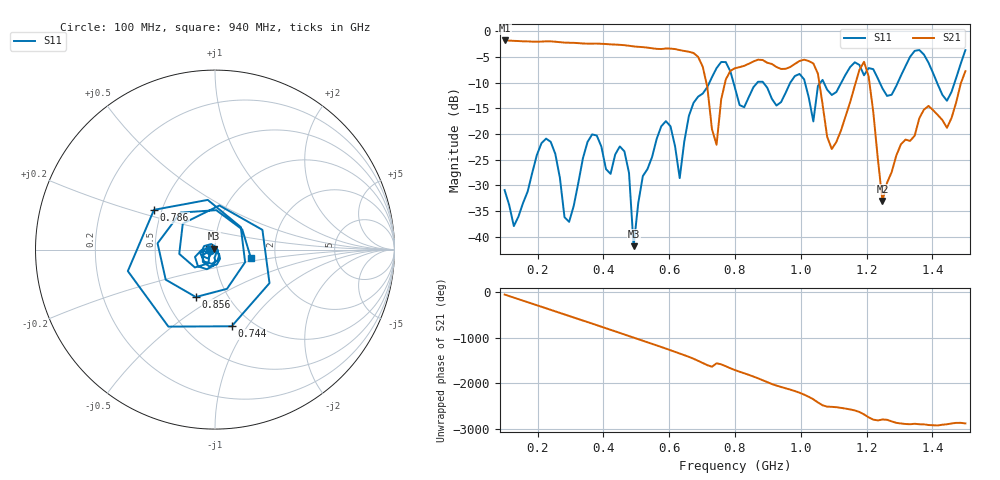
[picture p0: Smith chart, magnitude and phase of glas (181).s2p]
! NanoVNA-App
! Date: 2025-09-25 15:56:53
! Start: 100MHz Stop: 1,5GHz Points: 101
! S-Parameter data: F S11 S21 S12 S22
# Hz S RI R 50
!  Frequency  S11_Real  S11_Imag  S21_Real  S21_Imag  S12_Real  S12_Imag  S22_Real  S22_Imag
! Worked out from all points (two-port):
!   101 points, 100 MHz to 1.5 GHz, reference 50 ohm
!   highest |S21| = -1.80 dB at 100 MHz (marker M1); lowest = -33.0 dB at 1.248 GHz (marker M2)
!   |S21| within 3 dB of the highest: start of sweep to 684.3 MHz
!   lowest |S11| = -41.9 dB at 492 MHz (marker M3), VSWR 1.02, Z = 49.5 + j0.605 ohm
!   |S11| at or under -10 dB: start of sweep to 722.4 MHz; 795.4 MHz to 868 MHz (72.62 MHz wide, 8.73 % of centre); 885.9 MHz to 968.1 MHz (82.25 MHz wide, 8.87 % of centre) (the widest 3 of 7)
!   S12 and S22 are empty: the file has one direction only
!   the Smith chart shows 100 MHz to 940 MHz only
!   S11 on the Smith chart (normalised r, x): 100 MHz: 0.95, -0.01; 744 MHz: 0.80, -0.85; 786 MHz: 0.45, +0.24; 856 MHz: 0.71, -0.41; 940 MHz: 1.49, -0.14
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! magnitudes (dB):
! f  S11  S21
! 100 MHz  -30.9  -1.8
! 128 MHz  -38.0  -1.9
! 226 MHz  -20.9  -2.0
! 296 MHz  -37.1  -2.2
! 338 MHz  -24.7  -2.4
! 464 MHz  -23.4  -2.7
! 492 MHz  -41.9  -3.0
! 576 MHz  -18.5  -3.5
! 632 MHz  -28.6  -3.7
! 702 MHz  -12.1  -6.9
! 744 MHz  -7.2  -22.1
! 786 MHz  -7.8  -7.7
! 800 MHz  -11.1  -7.2
! 856 MHz  -10.9  -5.9
! 940 MHz  -13.8  -7.4
! 1.038 GHz  -17.6  -6.3
! 1.094 GHz  -12.4  -22.9
! 1.192 GHz  -8.6  -6.0
! 1.248 GHz  -11.1  -33.0
! 1.276 GHz  -12.4  -27.4
! 1.444 GHz  -13.5  -18.8
! 1.5 GHz  -3.7  -7.8
